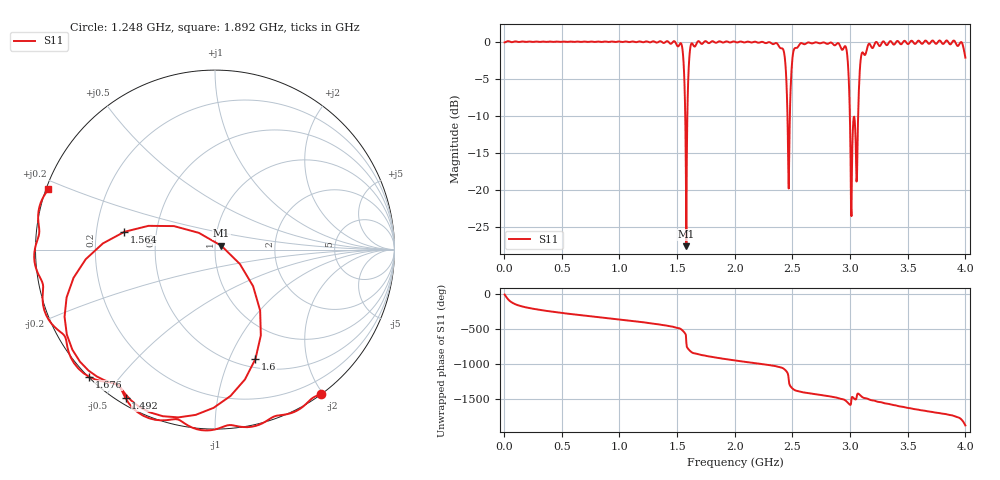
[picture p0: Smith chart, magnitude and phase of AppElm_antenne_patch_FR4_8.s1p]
! TOUCHSTONE file generated by CST MICROWAVE STUDIO
! Date and time: Tue Jun 14 13:48:56 2022
! Project name: AppElm_antenne_patch_FR4.cst
! Parameters = {L=45; W=58.5; e=0.035; h=1.6; lambda=0.190476; ls=120; w0=2.54; w1=0.847; ws=120; y0=18; y1=26.18}
! Header version: 2018
! Port assignment regex: !\s*Touchstone port\s*([0-9]+)\s*=\s*(CST MWS port|CST DS port)\s*([0-9]+|Zmin|Zmax)\s*\(\"(.*)\"\)(\s*mode\s*([0-9]+))?.*
! Touchstone port assignment:
! Touchstone port 1 = CST MWS port 1 ("")
# GHz S MA R 50
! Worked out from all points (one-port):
!   1000 points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, 4 MHz to 4 GHz, reference 50 ohm
!   lowest |S11| = -27.6 dB at 1.58 GHz (marker M1), VSWR 1.09, Z = 53.7 + j2.26 ohm
!   |S11| at or under -10 dB: 1.57 GHz to 1.589 GHz (18.6 MHz wide, 1.18 % of centre); 2.457 GHz to 2.478 GHz (21.2 MHz wide, 0.859 % of centre); 2.998 GHz to 3.07 GHz (71.9 MHz wide, 2.37 % of centre)
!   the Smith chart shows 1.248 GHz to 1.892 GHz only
!   S11 on the Smith chart (normalised r, x): 1.248 GHz: 0.00, -1.98; 1.492 GHz: 0.02, -0.57; 1.564 GHz: 0.32, +0.09; 1.6 GHz: 0.60, -1.25; 1.676 GHz: 0.00, -0.42; 1.892 GHz: 0.01, +0.18
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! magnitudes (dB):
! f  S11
! 4 MHz  -0.1
! 504 MHz  0.0
! 1.004 GHz  0.0
! 1.248 GHz  0.0
! 1.492 GHz  -0.3
! 1.504 GHz  -0.6
! 1.544 GHz  -0.7
! 1.564 GHz  -5.8
! 1.58 GHz  -27.6
! 1.6 GHz  -3.8
! 1.62 GHz  -0.4
! 1.676 GHz  0.0
! 1.892 GHz  -0.1
! 2.004 GHz  0.0
! 2.408 GHz  -0.9
! 2.432 GHz  -1.9
! 2.452 GHz  -7.1
! 2.468 GHz  -19.8
! 2.504 GHz  -1.7
! 2.58 GHz  -0.2
! 2.956 GHz  -0.6
! 2.976 GHz  -1.9
! 3.004 GHz  -15.7
! 3.056 GHz  -18.9
! 3.092 GHz  -2.4
! 3.112 GHz  -1.5
! 3.504 GHz  -0.3
! 4 GHz  -2.2
